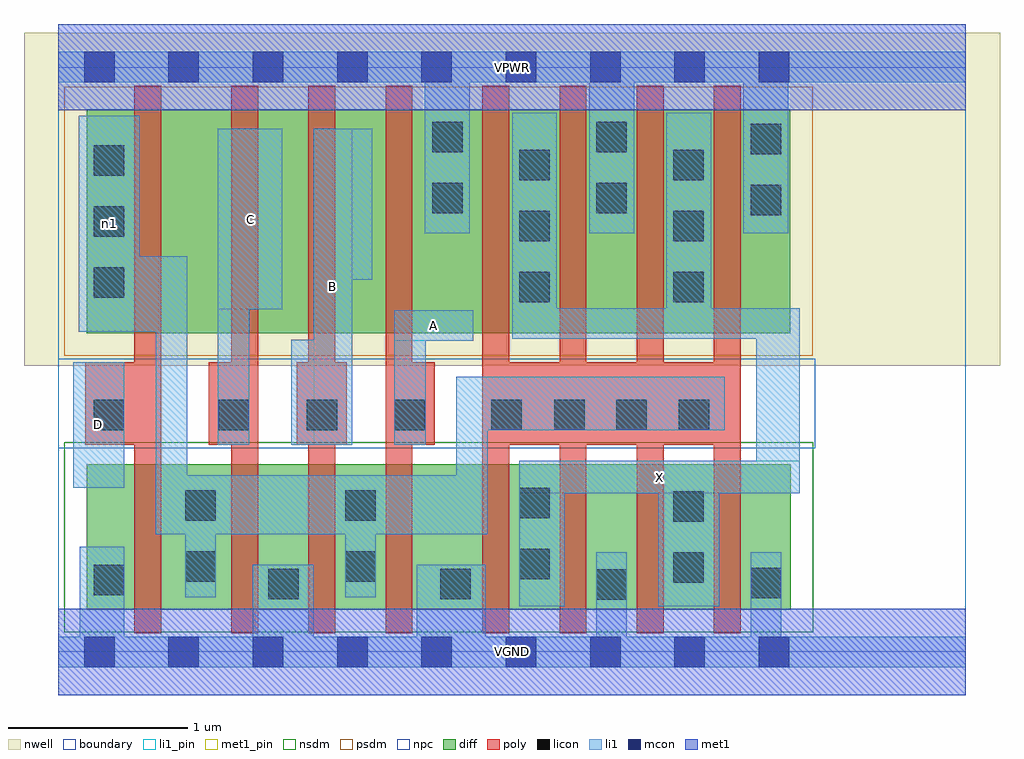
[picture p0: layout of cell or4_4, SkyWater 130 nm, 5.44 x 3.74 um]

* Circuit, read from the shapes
.subckt or4_4 A B C D VGND VPWR X n1
XM1 n1 D VGND VSUBS sky130_fd_pr__nfet_01v8 w=0.81 l=0.15
XM2 VGND C n1 VSUBS sky130_fd_pr__nfet_01v8 w=0.81 l=0.15
XM3 n1 B VGND VSUBS sky130_fd_pr__nfet_01v8 w=0.81 l=0.15
XM4 VGND A n1 VSUBS sky130_fd_pr__nfet_01v8 w=0.81 l=0.15
XM5 X n1 VGND VSUBS sky130_fd_pr__nfet_01v8 w=0.81 l=0.15 m=4
XM6 n2 D n1 n3 sky130_fd_pr__pfet_01v8 w=1.25 l=0.15
XM7 n4 C n2 n3 sky130_fd_pr__pfet_01v8 w=1.25 l=0.15
XM8 n5 B n4 n3 sky130_fd_pr__pfet_01v8 w=1.25 l=0.15
XM9 VPWR A n5 n3 sky130_fd_pr__pfet_01v8 w=1.25 l=0.15
XM10 X n1 VPWR n3 sky130_fd_pr__pfet_01v8 w=1.25 l=0.15 m=4
.ends

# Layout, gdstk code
import gdstk
lib = gdstk.Library(unit=1e-6, precision=1e-09)
def R(c, l, rs):  # rectangles x0, y0, x1, y1
    for r in rs: c.add(gdstk.rectangle(r[:2], r[2:], *l))
def A(c, l, x, y, w, h, nx, ny, dx, dy):  # array of equal rectangles
    R(c, l, [(x+i*dx, y+j*dy, x+i*dx+w, y+j*dy+h) for i in range(nx) for j in range(ny)])
nwell = (64, 20)
diff = (65, 20)
poly = (66, 20)
licon = (66, 44)
li1_pin = (67, 16)
li1 = (67, 20)
mcon = (67, 44)
met1_pin = (68, 16)
met1 = (68, 20)
nsdm = (93, 44)
psdm = (94, 20)
npc = (95, 20)
boundary = (235, 4)

or4_4 = lib.new_cell('or4_4')
R(or4_4, nwell, [(-0.19,1.595,5.25,3.45), (0,1.595,5.06,3.45)])
R(or4_4, diff, [(0.16,0.235,4.085,1.045), (0.16,1.775,4.08,3.025)])
A(or4_4, poly, 0.965, 0.105, 0.15, 3.05, 3, 1, 0.43, 0)
A(or4_4, poly, 2.365, 0.105, 0.15, 3.05, 4, 1, 0.43, 0)
R(or4_4, poly, [(0.425,0.105,0.575,3.155), (0.15,1.155,0.575,1.615), (0.84,1.155,1.115,1.615), (1.33,1.155,1.61,1.615), (1.825,1.155,2.1,1.615), (2.365,1.155,3.805,1.615)])
A(or4_4, licon, 0.895, 1.235, 0.17, 0.17, 3, 1, 0.49, 0)
A(or4_4, licon, 2.57, 1.95, 0.17, 0.17, 1, 3, 0, 0.34)
A(or4_4, licon, 3.43, 1.95, 0.17, 0.17, 1, 3, 0, 0.34)
A(or4_4, licon, 0.2, 1.975, 0.17, 0.17, 1, 3, 0, 0.34)
R(or4_4, licon, [(3,0.29,3.17,0.46), (1.17,0.295,1.34,0.465), (2.13,0.295,2.3,0.465), (3.86,0.3,4.03,0.47), (0.2,0.315,0.37,0.485), (3.43,0.385,3.6,0.555), (0.71,0.39,0.88,0.56), (1.6,0.39,1.77,0.56), (2.57,0.405,2.74,0.575), (3.43,0.725,3.6,0.895), (0.71,0.73,0.88,0.9), (1.6,0.73,1.77,0.9), (2.57,0.745,2.74,0.915), (0.2,1.235,0.37,1.405), (2.415,1.235,2.585,1.405), (2.765,1.235,2.935,1.405), (3.11,1.235,3.28,1.405), (3.46,1.235,3.63,1.405), (3.86,2.435,4.03,2.605), (2.085,2.445,2.255,2.615), (3,2.445,3.17,2.615), (3.86,2.775,4.03,2.945), (2.085,2.785,2.255,2.955), (3,2.785,3.17,2.955)])
R(or4_4, li1_pin, [(2.57,0.885,4.135,1.065), (0.085,0.915,0.37,1.615), (1.425,1.155,1.64,2.915), (1.875,1.735,2.315,1.905), (0.89,1.91,1.25,2.915)])
R(or4_4, li1, [(0,-0.085,5.06,0.085), (0.12,-0.085,0.37,0.585), (1.085,-0.085,1.425,0.485), (2,-0.085,2.385,0.485), (3,-0.085,3.17,0.555), (3.86,-0.085,4.03,0.555), (2.57,0.255,2.825,1.065), (3.345,0.255,3.685,1.065), (0.71,0.305,0.88,0.985), (1.6,0.305,1.77,0.985), (0.545,0.655,2.395,0.985), (0.545,0.655,0.72,2.205), (2.22,0.655,2.395,1.535), (2.57,0.885,4.135,1.065), (3.89,0.885,4.135,1.915), (0.085,0.915,0.37,1.615), (0.89,1.155,1.065,2.915), (1.3,1.155,1.64,1.74), (1.425,1.155,1.64,2.915), (1.875,1.155,2.05,1.905), (2.22,1.235,3.715,1.535), (1.875,1.735,2.315,1.905), (2.53,1.745,4.135,1.915), (2.53,1.745,2.78,3.005), (3.39,1.745,3.64,3.005), (0.115,1.785,0.455,2.99), (0.115,1.785,0.72,2.205), (0.89,1.91,1.25,2.915), (1.425,2.075,1.75,2.915), (2.045,2.335,2.295,3.345), (2.96,2.335,3.21,3.345), (3.82,2.335,4.07,3.345), (0,3.175,5.06,3.345)])
A(or4_4, mcon, 0.145, -0.085, 0.17, 0.17, 9, 2, 0.47, 3.26)
R(or4_4, met1_pin, [(0,-0.24,5.06,0.24), (0,3.02,5.06,3.5)])
R(or4_4, met1, [(0,-0.24,5.06,0.24), (0,3.02,5.06,3.5)])
R(or4_4, nsdm, [(0.035,0.11,4.21,1.17)])
R(or4_4, psdm, [(0.035,1.65,4.205,3.15)])
R(or4_4, npc, [(0,1.135,4.22,1.635)])
R(or4_4, boundary, [(0,0,5.06,3.26)])
or4_4.add(gdstk.Label('A', (2.095,1.82), layer=67, texttype=5))
or4_4.add(gdstk.Label('B', (1.532,2.035), layer=67, texttype=5))
or4_4.add(gdstk.Label('C', (1.07,2.412), layer=67, texttype=5))
or4_4.add(gdstk.Label('D', (0.227,1.265), layer=67, texttype=5))
or4_4.add(gdstk.Label('X', (3.352,0.975), layer=67, texttype=5))
or4_4.add(gdstk.Label('n1', (0.285,2.387), layer=67, texttype=5))
or4_4.add(gdstk.Label('VPWR', (2.53,3.26), layer=68, texttype=5))
or4_4.add(gdstk.Label('VGND', (2.53,0), layer=68, texttype=5))
or4_4.add(gdstk.Label('A', (2.095,1.82), layer=67, texttype=16))
or4_4.add(gdstk.Label('B', (1.532,2.035), layer=67, texttype=16))
or4_4.add(gdstk.Label('C', (1.07,2.412), layer=67, texttype=16))
or4_4.add(gdstk.Label('D', (0.227,1.265), layer=67, texttype=16))
or4_4.add(gdstk.Label('X', (3.352,0.975), layer=67, texttype=16))
or4_4.add(gdstk.Label('VPWR', (2.53,3.26), layer=68, texttype=16))
or4_4.add(gdstk.Label('VGND', (2.53,0), layer=68, texttype=16))

lib.write_gds('or4_4.gds')
